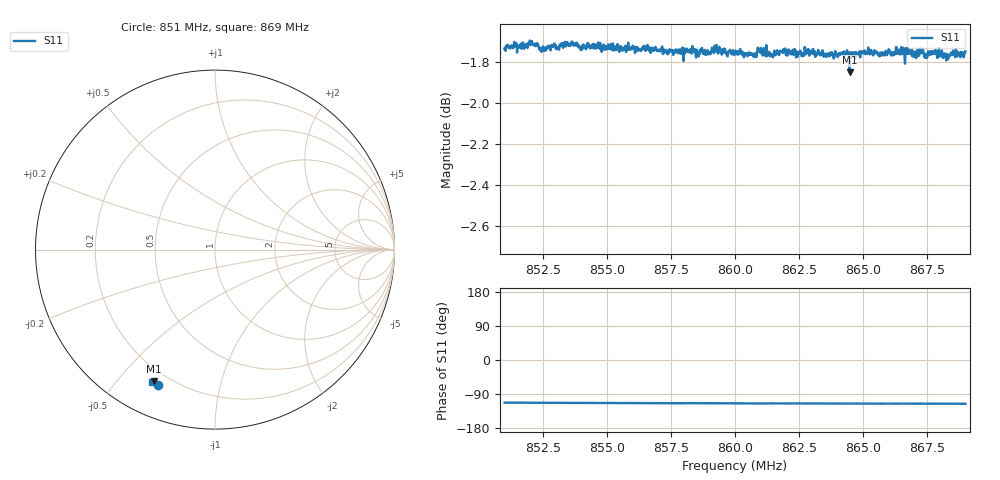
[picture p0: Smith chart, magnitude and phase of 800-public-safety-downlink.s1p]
! Calibrated averaged scanner-service zoom
# Hz S RI R 50
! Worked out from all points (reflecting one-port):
!   2001 points, 851 MHz to 869 MHz, reference 50 ohm
!   lowest |S11| = -1.9 dB at 864.48 MHz (marker M1), VSWR 9.42, Z = 7.43 - j31.3 ohm
!   phase of S11 starts at -113 deg and turns -3 deg over the sweep
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8.51e8  -0.3158 -0.7553
8.51675e8  -0.3145 -0.7565
8.52008e8  -0.3174 -0.7566
8.52449e8  -0.3176 -0.7531
8.5325e8  -0.3197 -0.7563
8.53799e8  -0.3252 -0.7543
8.5406e8  -0.3231 -0.7537
8.54384e8  -0.3239 -0.7536
8.555e8  -0.3257 -0.75
8.5775e8  -0.3301 -0.7484
8.57966e8  -0.3349 -0.746
8.5811e8  -0.3329 -0.7481
8.6e8  -0.3358 -0.7453
8.60765e8  -0.3367 -0.7438
8.60954e8  -0.3393 -0.7439
8.61161e8  -0.3385 -0.7434
8.61566e8  -0.3382 -0.7433
8.6225e8  -0.3418 -0.7428
8.63897e8  -0.3421 -0.741
8.64086e8  -0.3448 -0.7399
8.64482e8  -0.3416 -0.7322
8.645e8  -0.3436 -0.7381
8.6504e8  -0.3468 -0.74
8.6675e8  -0.3455 -0.7408
8.67002e8  -0.3454 -0.7383
8.67776e8  -0.3472 -0.7389
8.6828e8  -0.3503 -0.7371
8.69e8  -0.3503 -0.7388
